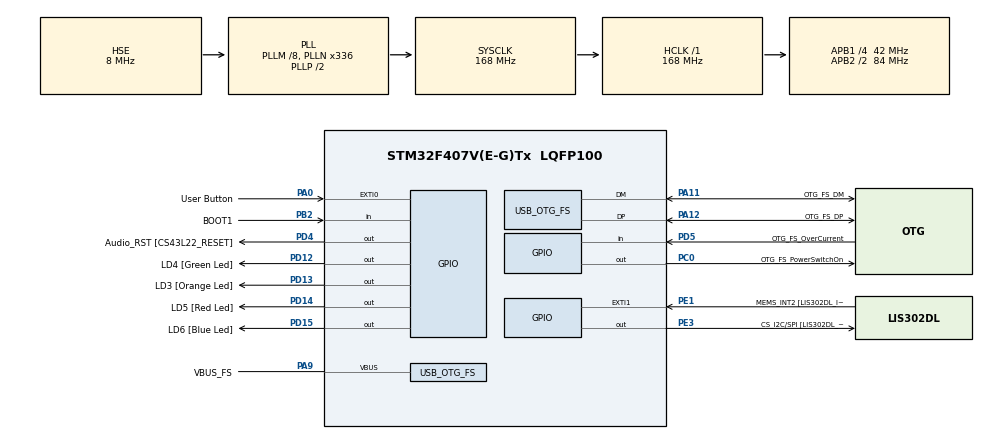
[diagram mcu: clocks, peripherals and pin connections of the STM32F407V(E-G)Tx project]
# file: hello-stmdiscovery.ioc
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Mcu.Family=STM32F4
Mcu.Name=STM32F407V(E-G)Tx
Mcu.Package=LQFP100
NVIC.OTG_FS_IRQn=true\:0\:0\:false\:false\:true\:true\:true\:true
NVIC.PriorityGroup=NVIC_PRIORITYGROUP_0
PA0-WKUP.GPIO_Label=User Button
PA0-WKUP.Signal=GPXTI0
PA10.GPIO_Label=OTG_FS_ID
PA10.GPIO_Mode=GPIO_MODE_AF_PP
PA10.GPIO_PuPd=GPIO_NOPULL
PA10.GPIO_Speed=GPIO_SPEED_FREQ_LOW
PA10.Signal=USB_OTG_FS_ID
PA11.GPIO_Label=OTG_FS_DM
PA11.GPIO_Mode=GPIO_MODE_AF_PP
PA11.GPIO_PuPd=GPIO_NOPULL
PA11.GPIO_Speed=GPIO_SPEED_FREQ_LOW
PA11.Mode=Device_Only
PA11.Signal=USB_OTG_FS_DM
PA12.GPIO_Label=OTG_FS_DP
PA12.GPIO_Mode=GPIO_MODE_AF_PP
PA12.GPIO_PuPd=GPIO_NOPULL
PA12.GPIO_Speed=GPIO_SPEED_FREQ_LOW
PA12.Mode=Device_Only
PA12.Signal=USB_OTG_FS_DP
PA13.GPIO_Label=SWDIO
PA13.Mode=Serial_Wire
PA13.Signal=SYS_JTMS-SWDIO
PA14.GPIO_Label=SWCLK
PA14.Mode=Serial_Wire
PA14.Signal=SYS_JTCK-SWCLK
PA4.GPIO_Label=I2S3_WS [CS43L22_LRCK]
PA4.GPIO_Mode=GPIO_MODE_AF_PP
PA4.GPIO_PuPd=GPIO_NOPULL
PA4.GPIO_Speed=GPIO_SPEED_FREQ_LOW
PA4.Signal=I2S3_WS
PA5.GPIO_Label=SPI1_SCK [LIS302DL_SCL/SPC]
PA5.GPIO_Mode=GPIO_MODE_AF_PP
PA5.GPIO_PuPd=GPIO_NOPULL
PA5.GPIO_Speed=GPIO_SPEED_FREQ_LOW
PA5.Signal=SPI1_SCK
PA6.GPIO_Label=SPI1_MISO [LIS302DL_SDO]
PA6.GPIO_Mode=GPIO_MODE_AF_PP
PA6.GPIO_PuPd=GPIO_NOPULL
PA6.GPIO_Speed=GPIO_SPEED_FREQ_LOW
PA6.Signal=SPI1_MISO
PA7.GPIO_Label=SPI1_MOSI [LIS302DL_SDA/SDI/SDO]
PA7.GPIO_Mode=GPIO_MODE_AF_PP
PA7.GPIO_PuPd=GPIO_NOPULL
PA7.GPIO_Speed=GPIO_SPEED_FREQ_LOW
PA7.Signal=SPI1_MOSI
PA9.GPIO_Label=VBUS_FS
PA9.GPIO_Mode=GPIO_MODE_INPUT
PA9.GPIO_PuPd=GPIO_NOPULL
PA9.Mode=Activate_VBUS
PA9.Signal=USB_OTG_FS_VBUS
PB10.GPIO_Label=CLK_IN [MP45DT02_CLK]
PB10.GPIO_Mode=GPIO_MODE_AF_PP
PB10.GPIO_PuPd=GPIO_NOPULL
PB10.GPIO_Speed=GPIO_SPEED_FREQ_LOW
PB10.Signal=I2S2_CK
PB2.GPIO_Label=BOOT1
PB2.GPIO_Mode=GPIO_MODE_INPUT
PB2.GPIO_PuPd=GPIO_NOPULL
PB2.Signal=GPIO_Input
PB3.GPIO_Label=SWO
PB3.Signal=SYS_JTDO-SWO
PB6.GPIO_Label=Audio_SCL [CS43L22_SCL]
PB6.GPIO_Mode=GPIO_MODE_AF_OD
PB6.GPIO_Pu=GPIO_PULLUP
PB6.GPIO_PuPd=GPIO_NOPULL
PB6.GPIO_Speed=GPIO_SPEED_FREQ_LOW
PB6.Signal=I2C1_SCL
PB9.GPIO_Label=Audio_SDA [CS43L22_SDA]
PB9.GPIO_Mode=GPIO_MODE_AF_OD
PB9.GPIO_Pu=GPIO_PULLUP
PB9.GPIO_PuPd=GPIO_NOPULL
PB9.GPIO_Speed=GPIO_SPEED_FREQ_LOW
PB9.Signal=I2C1_SDA
PC0.GPIO_Label=OTG_FS_PowerSwitchOn
PC0.GPIO_PuPd=GPIO_NOPULL
PC0.GPIO_Speed=GPIO_SPEED_FREQ_LOW
PC0.PinState=GPIO_PIN_SET
PC0.Signal=GPIO_Output
PC10.Signal=I2S3_CK
PC12.GPIO_Label=I2S3_SD [CS43L22_SDIN]
PC12.GPIO_Mode=GPIO_MODE_AF_PP
PC12.GPIO_PuPd=GPIO_NOPULL
PC12.GPIO_Speed=GPIO_SPEED_FREQ_LOW
PC12.Signal=I2S3_SD
PC14-OSC32_IN.GPIO_Label=PC14-OSC32_IN
PC14-OSC32_IN.Mode=LSE-External-Oscillator
PC14-OSC32_IN.Signal=RCC_OSC32_IN
PC15-OSC32_OUT.GPIO_Label=PC15-OSC32_OUT
PC15-OSC32_OUT.Mode=LSE-External-Oscillator
PC15-OSC32_OUT.Signal=RCC_OSC32_OUT
PC3.GPIO_Label=PDM_OUT [MP45DT02_DOUT]
PC3.GPIO_Mode=GPIO_MODE_AF_PP
PC3.GPIO_PuPd=GPIO_NOPULL
PC3.GPIO_Speed=GPIO_SPEED_FREQ_LOW
PC3.Signal=I2S2_SD
PC7.GPIO_Label=I2S3_MCK [CS43L22_MCLK]
PC7.GPIO_Mode=GPIO_MODE_AF_PP
PC7.GPIO_PuPd=GPIO_NOPULL
PC7.GPIO_Speed=GPIO_SPEED_FREQ_LOW
PC7.Signal=I2S3_MCK
PD12.GPIO_Label=LD4 [Green Led]
PD12.GPIO_PuPd=GPIO_NOPULL
PD12.GPIO_Speed=GPIO_SPEED_FREQ_LOW
PD12.Signal=GPIO_Output
PD13.GPIO_Label=LD3 [Orange Led]
PD13.GPIO_PuPd=GPIO_NOPULL
PD13.GPIO_Speed=GPIO_SPEED_FREQ_LOW
PD13.Signal=GPIO_Output
PD14.GPIO_Label=LD5 [Red Led]
PD14.GPIO_PuPd=GPIO_NOPULL
PD14.GPIO_Speed=GPIO_SPEED_FREQ_LOW
PD14.Signal=GPIO_Output
PD15.GPIO_Label=LD6 [Blue Led]
PD15.GPIO_PuPd=GPIO_NOPULL
PD15.GPIO_Speed=GPIO_SPEED_FREQ_LOW
PD15.Signal=GPIO_Output
PD4.GPIO_Label=Audio_RST [CS43L22_RESET]
PD4.GPIO_PuPd=GPIO_NOPULL
PD4.GPIO_Speed=GPIO_SPEED_FREQ_LOW
PD4.Signal=GPIO_Output
PD5.GPIO_Label=OTG_FS_OverCurrent
PD5.GPIO_Mode=GPIO_MODE_INPUT
PD5.GPIO_PuPd=GPIO_NOPULL
PD5.Signal=GPIO_Input
PE1.GPIO_Label=MEMS_INT2 [LIS302DL_INT2]
PE1.GPIO_ModeDefaultEXTI=GPIO_MODE_EVT_RISING
PE1.GPIO_PuPd=GPIO_NOPULL
PE1.Signal=GPXTI1
PE3.GPIO_Label=CS_I2C/SPI [LIS302DL_CS_I2C/SPI]
PE3.GPIO_PuPd=GPIO_NOPULL
PE3.GPIO_Speed=GPIO_SPEED_FREQ_LOW
PE3.Signal=GPIO_Output
PH0-OSC_IN.GPIO_Label=PH0-OSC_IN
PH0-OSC_IN.Mode=HSE-External-Oscillator
PH0-OSC_IN.Signal=RCC_OSC_IN
PH1-OSC_OUT.GPIO_Label=PH1-OSC_OUT
PH1-OSC_OUT.Mode=HSE-External-Oscillator
PH1-OSC_OUT.Signal=RCC_OSC_OUT
ProjectManager.HeapSize=0x200
ProjectManager.StackSize=0x400
ProjectManager.TargetToolchain=STM32CubeIDE
RCC.48MHZClocksFreq_Value=48000000
RCC.AHBFreq_Value=168000000
RCC.APB1CLKDivider=RCC_HCLK_DIV4
RCC.APB1Freq_Value=42000000
RCC.APB1TimFreq_Value=84000000
RCC.APB2CLKDivider=RCC_HCLK_DIV2
RCC.APB2Freq_Value=84000000
RCC.APB2TimFreq_Value=168000000
RCC.CortexFreq_Value=168000000
RCC.HCLKFreq_Value=168000000
RCC.HSE_VALUE=8000000
RCC.HSI_VALUE=16000000
RCC.PLLM=8
RCC.PLLN=336
RCC.PLLQ=7
RCC.SYSCLKFreq_VALUE=168000000
RCC.SYSCLKSource=RCC_SYSCLKSOURCE_PLLCLK
RCC.VCOOutputFreq_Value=336000000
USB_DEVICE.CLASS_NAME_FS=CDC
USB_DEVICE.VirtualMode-CDC_FS=Cdc
USB_DEVICE.VirtualModeFS=Cdc_FS
USB_OTG_FS.VirtualMode=Device_Only
VP_USB_DEVICE_VS_USB_DEVICE_CDC_FS.Mode=CDC_FS
board=STM32F407G-DISC1

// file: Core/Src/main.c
/* USER CODE BEGIN Header */
/**
  ******************************************************************************
  * @file           : main.c
  * @brief          : Main program body
  ******************************************************************************
  * @attention
  *
  * Copyright (c) 2023 STMicroelectronics.
  * All rights reserved.
  *
  * This software is licensed under terms that can be found in the LICENSE file
  * in the root directory of this software component.
  * If no LICENSE file comes with this software, it is provided AS-IS.
  *
  ******************************************************************************
  */
/* USER CODE END Header */
#include "main.h"
#include "usb_device.h"

/* USER CODE BEGIN Includes */
#include "usbd_cdc_if.h"
#include <string.h>
#include <stdio.h>
/* USER CODE END Includes */

void SystemClock_Config(void);
static void MX_GPIO_Init(void);
/* USER CODE BEGIN PFP */
void EXTI0_IRQHandler(void);
void USB_VCP_IntroMSG(uint8_t dataBuffer[]);
/* USER CODE END PFP */

int main(void)
{

  /* MCU Configuration--------------------------------------------------------*/

  /* Reset of all peripherals, Initializes the Flash interface and the Systick. */
  HAL_Init();

  /* USER CODE BEGIN Init */
  uint8_t testDataBuffer[100] = "Input 1 or 0 to turn an LED on or off, respectively\r\n";
  /* USER CODE END Init */

  /* Configure the system clock */
  SystemClock_Config();

  /* Initialize all configured peripherals */
  MX_GPIO_Init();
  MX_USB_DEVICE_Init();
  /* USER CODE BEGIN 2 */
  volatile uint8_t firstPatternCount = 0;
  // Need to enable EXTI0_IRQn for catching interrupts along EXTI0 line
  HAL_NVIC_SetPriority(EXTI0_IRQn, 0x0F, 0);
  HAL_NVIC_EnableIRQ(EXTI0_IRQn);

  USB_VCP_IntroMSG(testDataBuffer);
  /* USER CODE END 2 */

  /* Infinite loop */
  while (1)
  {

    /* USER CODE BEGIN 3 */
    while (firstPatternCount < 16) {
    	HAL_GPIO_TogglePin(LD3_GPIO_Port, LD3_Pin);

    	HAL_Delay(500);

    	firstPatternCount += 1;
    }

    HAL_GPIO_TogglePin(LD4_GPIO_Port, LD4_Pin);

    firstPatternCount = 0;
  }
  /* USER CODE END 3 */
}

void SystemClock_Config(void)
{
  RCC_OscInitTypeDef RCC_OscInitStruct = {0};
  RCC_ClkInitTypeDef RCC_ClkInitStruct = {0};

  /** Configure the main internal regulator output voltage
  */
  __HAL_RCC_PWR_CLK_ENABLE();
  __HAL_PWR_VOLTAGESCALING_CONFIG(PWR_REGULATOR_VOLTAGE_SCALE1);

  /** Initializes the RCC Oscillators according to the specified parameters
  * in the RCC_OscInitTypeDef structure.
  */
  RCC_OscInitStruct.OscillatorType = RCC_OSCILLATORTYPE_HSE;
  RCC_OscInitStruct.HSEState = RCC_HSE_ON;
  RCC_OscInitStruct.PLL.PLLState = RCC_PLL_ON;
  RCC_OscInitStruct.PLL.PLLSource = RCC_PLLSOURCE_HSE;
  RCC_OscInitStruct.PLL.PLLM = 8;
  RCC_OscInitStruct.PLL.PLLN = 336;
  RCC_OscInitStruct.PLL.PLLP = RCC_PLLP_DIV2;
  RCC_OscInitStruct.PLL.PLLQ = 7;
  if (HAL_RCC_OscConfig(&RCC_OscInitStruct) != HAL_OK)
  {
    Error_Handler();
  }

  /** Initializes the CPU, AHB and APB buses clocks
  */
  RCC_ClkInitStruct.ClockType = RCC_CLOCKTYPE_HCLK|RCC_CLOCKTYPE_SYSCLK
                              |RCC_CLOCKTYPE_PCLK1|RCC_CLOCKTYPE_PCLK2;
  RCC_ClkInitStruct.SYSCLKSource = RCC_SYSCLKSOURCE_PLLCLK;
  RCC_ClkInitStruct.AHBCLKDivider = RCC_SYSCLK_DIV1;
  RCC_ClkInitStruct.APB1CLKDivider = RCC_HCLK_DIV4;
  RCC_ClkInitStruct.APB2CLKDivider = RCC_HCLK_DIV2;

  if (HAL_RCC_ClockConfig(&RCC_ClkInitStruct, FLASH_LATENCY_5) != HAL_OK)
  {
    Error_Handler();
  }
}

static void MX_GPIO_Init(void)
{
  GPIO_InitTypeDef GPIO_InitStruct = {0};

  /* GPIO Ports Clock Enable */
  __HAL_RCC_GPIOE_CLK_ENABLE();
  __HAL_RCC_GPIOC_CLK_ENABLE();
  __HAL_RCC_GPIOH_CLK_ENABLE();
  __HAL_RCC_GPIOA_CLK_ENABLE();
  __HAL_RCC_GPIOB_CLK_ENABLE();
  __HAL_RCC_GPIOD_CLK_ENABLE();

  /*Configure GPIO pin Output Level */
  HAL_GPIO_WritePin(CS_I2C_SPI_GPIO_Port, CS_I2C_SPI_Pin, GPIO_PIN_RESET);

  /*Configure GPIO pin Output Level */
  HAL_GPIO_WritePin(OTG_FS_PowerSwitchOn_GPIO_Port, OTG_FS_PowerSwitchOn_Pin, GPIO_PIN_SET);

  /*Configure GPIO pin Output Level */
  HAL_GPIO_WritePin(GPIOD, LD4_Pin|LD3_Pin|LD5_Pin|LD6_Pin
                          |Audio_RST_Pin, GPIO_PIN_RESET);

  /*Configure GPIO pin : CS_I2C_SPI_Pin */
  GPIO_InitStruct.Pin = CS_I2C_SPI_Pin;
  GPIO_InitStruct.Mode = GPIO_MODE_OUTPUT_PP;
  GPIO_InitStruct.Pull = GPIO_NOPULL;
  GPIO_InitStruct.Speed = GPIO_SPEED_FREQ_LOW;
  HAL_GPIO_Init(CS_I2C_SPI_GPIO_Port, &GPIO_InitStruct);

  /*Configure GPIO pin : OTG_FS_PowerSwitchOn_Pin */
  GPIO_InitStruct.Pin = OTG_FS_PowerSwitchOn_Pin;
  GPIO_InitStruct.Mode = GPIO_MODE_OUTPUT_PP;
  GPIO_InitStruct.Pull = GPIO_NOPULL;
  GPIO_InitStruct.Speed = GPIO_SPEED_FREQ_LOW;
  HAL_GPIO_Init(OTG_FS_PowerSwitchOn_GPIO_Port, &GPIO_InitStruct);

  /*Configure GPIO pin : PDM_OUT_Pin */
  GPIO_InitStruct.Pin = PDM_OUT_Pin;
  GPIO_InitStruct.Mode = GPIO_MODE_AF_PP;
  GPIO_InitStruct.Pull = GPIO_NOPULL;
  GPIO_InitStruct.Speed = GPIO_SPEED_FREQ_LOW;
  GPIO_InitStruct.Alternate = GPIO_AF5_SPI2;
  HAL_GPIO_Init(PDM_OUT_GPIO_Port, &GPIO_InitStruct);

  /*Configure GPIO pin : User_Button_Pin */
  GPIO_InitStruct.Pin = User_Button_Pin;
  GPIO_InitStruct.Mode = GPIO_MODE_IT_RISING;
  GPIO_InitStruct.Pull = GPIO_NOPULL;
  HAL_GPIO_Init(User_Button_GPIO_Port, &GPIO_InitStruct);

  /*Configure GPIO pin : I2S3_WS_Pin */
  GPIO_InitStruct.Pin = I2S3_WS_Pin;
  GPIO_InitStruct.Mode = GPIO_MODE_AF_PP;
  GPIO_InitStruct.Pull = GPIO_NOPULL;
  GPIO_InitStruct.Speed = GPIO_SPEED_FREQ_LOW;
  GPIO_InitStruct.Alternate = GPIO_AF6_SPI3;
  HAL_GPIO_Init(I2S3_WS_GPIO_Port, &GPIO_InitStruct);

  /*Configure GPIO pins : SPI1_SCK_Pin SPI1_MISO_Pin SPI1_MOSI_Pin */
  GPIO_InitStruct.Pin = SPI1_SCK_Pin|SPI1_MISO_Pin|SPI1_MOSI_Pin;
  GPIO_InitStruct.Mode = GPIO_MODE_AF_PP;
  GPIO_InitStruct.Pull = GPIO_NOPULL;
  GPIO_InitStruct.Speed = GPIO_SPEED_FREQ_LOW;
  GPIO_InitStruct.Alternate = GPIO_AF5_SPI1;
  HAL_GPIO_Init(GPIOA, &GPIO_InitStruct);

  /*Configure GPIO pin : BOOT1_Pin */
  GPIO_InitStruct.Pin = BOOT1_Pin;
  GPIO_InitStruct.Mode = GPIO_MODE_INPUT;
  GPIO_InitStruct.Pull = GPIO_NOPULL;
  HAL_GPIO_Init(BOOT1_GPIO_Port, &GPIO_InitStruct);

  /*Configure GPIO pin : CLK_IN_Pin */
  GPIO_InitStruct.Pin = CLK_IN_Pin;
  GPIO_InitStruct.Mode = GPIO_MODE_AF_PP;
  GPIO_InitStruct.Pull = GPIO_NOPULL;
  GPIO_InitStruct.Speed = GPIO_SPEED_FREQ_LOW;
  GPIO_InitStruct.Alternate = GPIO_AF5_SPI2;
  HAL_GPIO_Init(CLK_IN_GPIO_Port, &GPIO_InitStruct);

  /*Configure GPIO pins : LD4_Pin LD3_Pin LD5_Pin LD6_Pin
                           Audio_RST_Pin */
  GPIO_InitStruct.Pin = LD4_Pin|LD3_Pin|LD5_Pin|LD6_Pin
                          |Audio_RST_Pin;
  GPIO_InitStruct.Mode = GPIO_MODE_OUTPUT_PP;
  GPIO_InitStruct.Pull = GPIO_NOPULL;
  GPIO_InitStruct.Speed = GPIO_SPEED_FREQ_LOW;
  HAL_GPIO_Init(GPIOD, &GPIO_InitStruct);

  /*Configure GPIO pins : I2S3_MCK_Pin PC10 I2S3_SD_Pin */
  GPIO_InitStruct.Pin = I2S3_MCK_Pin|GPIO_PIN_10|I2S3_SD_Pin;
  GPIO_InitStruct.Mode = GPIO_MODE_AF_PP;
  GPIO_InitStruct.Pull = GPIO_NOPULL;
  GPIO_InitStruct.Speed = GPIO_SPEED_FREQ_LOW;
  GPIO_InitStruct.Alternate = GPIO_AF6_SPI3;
  HAL_GPIO_Init(GPIOC, &GPIO_InitStruct);

  /*Configure GPIO pin : OTG_FS_OverCurrent_Pin */
  GPIO_InitStruct.Pin = OTG_FS_OverCurrent_Pin;
  GPIO_InitStruct.Mode = GPIO_MODE_INPUT;
  GPIO_InitStruct.Pull = GPIO_NOPULL;
  HAL_GPIO_Init(OTG_FS_OverCurrent_GPIO_Port, &GPIO_InitStruct);

  /*Configure GPIO pins : Audio_SCL_Pin Audio_SDA_Pin */
  GPIO_InitStruct.Pin = Audio_SCL_Pin|Audio_SDA_Pin;
  GPIO_InitStruct.Mode = GPIO_MODE_AF_OD;
  GPIO_InitStruct.Pull = GPIO_PULLUP;
  GPIO_InitStruct.Speed = GPIO_SPEED_FREQ_LOW;
  GPIO_InitStruct.Alternate = GPIO_AF4_I2C1;
  HAL_GPIO_Init(GPIOB, &GPIO_InitStruct);

  /*Configure GPIO pin : MEMS_INT2_Pin */
  GPIO_InitStruct.Pin = MEMS_INT2_Pin;
  GPIO_InitStruct.Mode = GPIO_MODE_EVT_RISING;
  GPIO_InitStruct.Pull = GPIO_NOPULL;
  HAL_GPIO_Init(MEMS_INT2_GPIO_Port, &GPIO_InitStruct);

}

/* USER CODE BEGIN 4 */
/*
 * Handles interrupts on EXTI0 line, associated with user push button.
 * If interrupt detected (button press), toggles blue LED (LD6)
 */
void EXTI0_IRQHandler(void) {
	if (__HAL_GPIO_EXTI_GET_IT(User_Button_Pin) != RESET) {
		__HAL_GPIO_EXTI_CLEAR_IT(User_Button_Pin);
		HAL_GPIO_TogglePin(LD6_GPIO_Port, LD6_Pin);
	}
}

void USB_VCP_IntroMSG(uint8_t dataBuffer[]) {
	HAL_Delay(500);
	CDC_Transmit_FS(dataBuffer, strlen((char *)dataBuffer));
}

void CDC_HandleReceive(uint8_t *buffer, uint32_t len) {
	if (buffer[0] == '1') {
		HAL_GPIO_WritePin(LD5_GPIO_Port, LD5_Pin, GPIO_PIN_SET);
	} else if (buffer[0] == '0') {
		HAL_GPIO_WritePin(LD5_GPIO_Port, LD5_Pin, GPIO_PIN_RESET);
	}
}
/* USER CODE END 4 */

void Error_Handler(void)
{
  __disable_irq();
  while (1)
  {
  }
}
